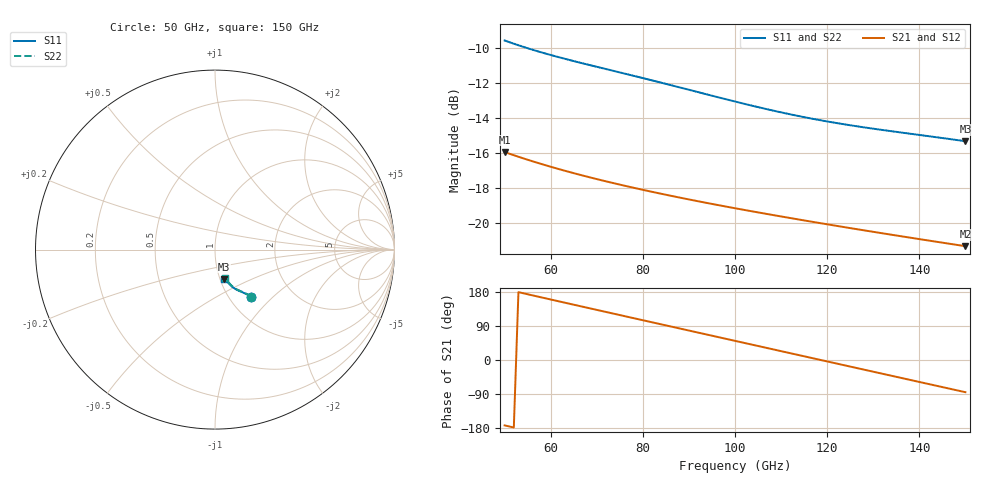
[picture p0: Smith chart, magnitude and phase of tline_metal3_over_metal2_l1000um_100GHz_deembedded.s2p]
! Created with skrf 2.2.0 (http://scikit-rf.org).
# GHz S DB R 50.0
! Port[1] = P1
! Port[2] = P2
!freq dBS11 angS11 dBS21 angS21 dBS12 angS12 dBS22 angS22
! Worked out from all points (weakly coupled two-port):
!   101 points, 50 GHz to 150 GHz, reference 50 ohm
!   highest |S21| = -15.96 dB at 50 GHz (marker M1); lowest = -21.3 dB at 150 GHz (marker M2)
!   lowest |S11| = -15.3 dB at 150 GHz (marker M3), VSWR 1.41, Z = 52.2 - j17.6 ohm
!   |S11| at or under -10 dB: 54.67 GHz to end of sweep
!   |S22| runs from -15.5 to -9.6 dB; largest |S21 - S12| = 1.2e-13
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50  -9.58 -52.6  -15.96 -172.6  -15.96 -172.6  -9.60 -52.3
54  -9.94 -53.5  -16.31 176.3  -16.31 176.3  -9.96 -53.3
58  -10.26 -54.5  -16.64 165.2  -16.64 165.2  -10.29 -54.3
63  -10.63 -55.8  -17.02 151.4  -17.02 151.4  -10.65 -55.5
67  -10.89 -56.9  -17.30 140.5  -17.30 140.5  -10.93 -56.6
72  -11.22 -58.4  -17.63 126.8  -17.63 126.8  -11.25 -58.1
76  -11.47 -59.6  -17.88 115.9  -17.88 115.9  -11.52 -59.3
80  -11.73 -60.8  -18.11 105.0  -18.11 105.0  -11.78 -60.5
84  -12.00 -62.0  -18.34 94.1  -18.34 94.1  -12.05 -61.6
88  -12.26 -63.2  -18.56 83.2  -18.56 83.2  -12.33 -62.7
92  -12.53 -64.2  -18.77 72.3  -18.77 72.3  -12.60 -63.7
100  -13.07 -66.0  -19.16 50.6  -19.16 50.6  -13.15 -65.4
105  -13.39 -66.8  -19.40 37.0  -19.40 37.0  -13.48 -66.2
109  -13.63 -67.4  -19.59 26.1  -19.59 26.1  -13.73 -66.7
113  -13.86 -67.9  -19.77 15.2  -19.77 15.2  -13.97 -67.1
117  -14.06 -68.4  -19.95 4.4  -19.95 4.4  -14.18 -67.5
121  -14.25 -68.8  -20.12 -6.5  -20.12 -6.5  -14.38 -67.9
125  -14.43 -69.3  -20.30 -17.3  -20.30 -17.3  -14.56 -68.2
129  -14.58 -69.8  -20.47 -28.2  -20.47 -28.2  -14.72 -68.6
134  -14.77 -70.5  -20.68 -41.7  -20.68 -41.7  -14.91 -69.1
142  -15.05 -71.7  -21.01 -63.3  -21.01 -63.3  -15.19 -70.1
150  -15.34 -73.1  -21.33 -85.0  -21.33 -85.0  -15.48 -71.2
